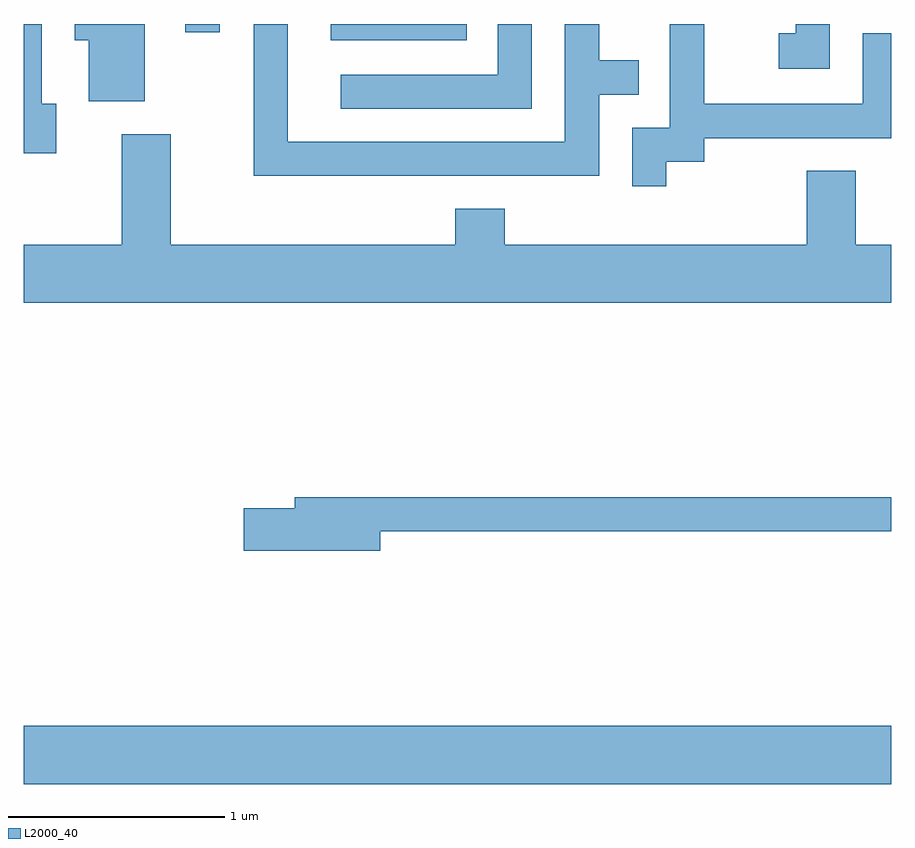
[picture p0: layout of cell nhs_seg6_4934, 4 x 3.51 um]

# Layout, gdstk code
import gdstk
lib = gdstk.Library(unit=1e-6, precision=1e-09)
def R(c, l, rs):  # rectangles x0, y0, x1, y1
    for r in rs: c.add(gdstk.rectangle(r[:2], r[2:], *l))
def P(c, l, *ps):  # polygons
    for p in ps: c.add(gdstk.Polygon(p, *l))
L2000_40 = (2000, 40)

nhs_seg6_4934 = lib.new_cell('nhs_seg6_4934')
R(nhs_seg6_4934, L2000_40, [(335.611,1596.656,339.611,1596.924), (337.026,1600.086,337.653,1600.162), (336.356,1600.123,336.514,1600.162)])
P(nhs_seg6_4934, L2000_40, [(338.264,1599.836),(338.448,1599.836),(338.448,1599.994),(338.264,1599.994),(338.264,1600.162),(338.106,1600.162),(338.106,1599.619),(336.829,1599.619),(336.829,1600.162),(336.671,1600.162),(336.671,1599.461),(338.264,1599.461)],
  [(339.329,1600.162),(339.171,1600.162),(339.171,1600.119),(339.093,1600.119),(339.093,1599.956),(339.329,1599.956)],
  [(338.574,1599.526),(338.749,1599.526),(338.749,1599.636),(339.611,1599.636),(339.611,1600.119),(339.481,1600.119),(339.481,1599.794),(338.749,1599.794),(338.749,1600.162),(338.591,1600.162),(338.591,1599.684),(338.416,1599.684),(338.416,1599.413),(338.574,1599.413)],
  [(335.759,1599.794),(335.694,1599.794),(335.694,1600.162),(335.611,1600.162),(335.611,1599.566),(335.759,1599.566)],
  [(337.954,1600.162),(337.796,1600.162),(337.796,1599.929),(337.073,1599.929),(337.073,1599.771),(337.954,1599.771)],
  [(336.169,1600.162),(335.846,1600.162),(335.846,1600.086),(335.911,1600.086),(335.911,1599.806),(336.169,1599.806)],
  [(339.611,1599.144),(339.449,1599.144),(339.449,1599.484),(339.221,1599.484),(339.221,1599.144),(337.829,1599.144),(337.829,1599.309),(337.601,1599.309),(337.601,1599.144),(336.289,1599.144),(336.289,1599.654),(336.061,1599.654),(336.061,1599.144),(335.611,1599.144),(335.611,1598.876),(339.611,1598.876)],
  [(337.254,1597.821),(339.611,1597.821),(339.611,1597.979),(336.861,1597.979),(336.861,1597.929),(336.626,1597.929),(336.626,1597.731),(337.254,1597.731)])

lib.write_gds('nhs_seg6_4934.gds')
